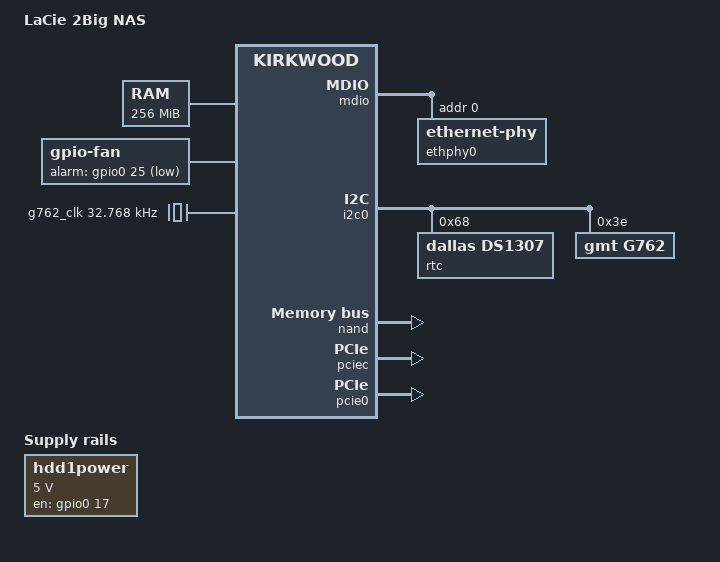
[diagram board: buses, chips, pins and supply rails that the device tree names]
// SPDX-License-Identifier: GPL-2.0
/*
 * Device Tree file for LaCie 2Big NAS
 *
 * Copyright (C) 2015 Seagate
 *
 * Author: Simon Guinot <simon.guinot@sequanux.org>
 *
*/

/dts-v1/;

#include "kirkwood-netxbig.dtsi"

/ {
	model = "LaCie 2Big NAS";
	compatible = "lacie,nas2big", "lacie,netxbig", "marvell,kirkwood-88f6282", "marvell,kirkwood";

	memory {
		device_type = "memory";
		reg = <0x00000000 0x10000000>;
	};

	chosen {
		bootargs = "console=ttyS0,115200n8";
		stdout-path = &uart0;
	};

	ocp@f1000000 {
		rtc@10300 {
			/* The on-chip RTC is not powered (no supercap). */
			status = "disabled";
		};
		spi@10600 {
			/*
			 * A NAND flash is used instead of an SPI flash for
			 * the other netxbig-compatible boards.
			 */
			status = "disabled";
		};
	};

	fan {
		/*
		 * An I2C fan controller (GMT G762) is used but alarm is
		 * wired to a separate GPIO.
		 */
		compatible = "gpio-fan";
		alarm-gpios = <&gpio0 25 GPIO_ACTIVE_LOW>;
	};

	regulators: regulators {
		status = "okay";
		compatible = "simple-bus";
		#address-cells = <1>;
		#size-cells = <0>;
		pinctrl-names = "default";

		regulator@2 {
			compatible = "regulator-fixed";
			reg = <2>;
			regulator-name = "hdd1power";
			regulator-min-microvolt = <5000000>;
			regulator-max-microvolt = <5000000>;
			enable-active-high;
			regulator-always-on;
			regulator-boot-on;
			gpio = <&gpio0 17 GPIO_ACTIVE_HIGH>;
		};
		clocks {
			g762_clk: g762-oscillator {
				compatible = "fixed-clock";
				#clock-cells = <0>;
				clock-frequency = <32768>;
			};
		};
	};
};

&mdio {
	status = "okay";

	ethphy0: ethernet-phy@0 {
		reg = <0>;
	};
};

&i2c0 {
	status = "okay";

	/*
	 * An external I2C RTC (Dallas DS1337S+) is used. This allows
	 * to power-up the board on an RTC alarm. The external RTC can
	 * be kept powered, even when the SoC is off.
	 */
	rtc@68 {
		compatible = "dallas,ds1307";
		reg = <0x68>;
		interrupts = <43>;
	};
	g762@3e {
		compatible = "gmt,g762";
		reg = <0x3e>;
		clocks = <&g762_clk>;
	};
};

&nand {
	chip-delay = <50>;
	status = "okay";

	partition@0 {
		label = "U-Boot";
		reg = <0x0 0x100000>;
	};

	partition@100000 {
		label = "uImage";
		reg = <0x100000 0x1000000>;
	};

	partition@1100000 {
		label = "root";
		reg = <0x1100000 0x8000000>;
	};

	partition@9100000 {
		label = "unused";
		reg = <0x9100000 0x6f00000>;
	};
};

&pciec {
        status = "okay";
};

&pcie0 {
	status = "okay";
};
